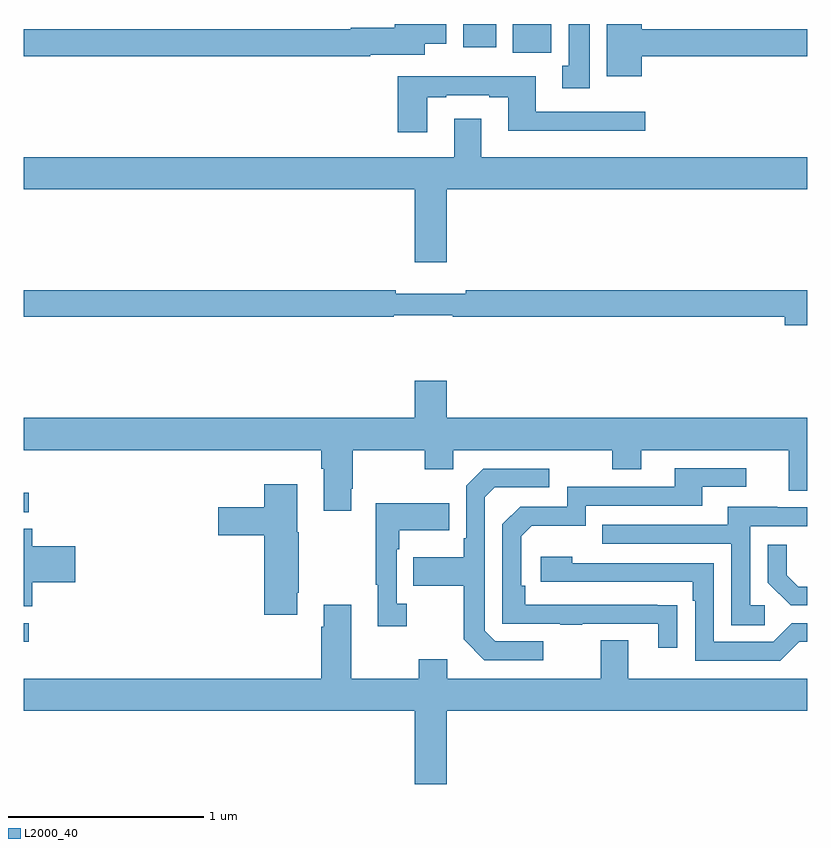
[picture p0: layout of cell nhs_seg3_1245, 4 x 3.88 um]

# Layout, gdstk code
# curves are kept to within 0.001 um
import gdstk
lib = gdstk.Library(unit=1e-6, precision=1e-09)
def R(c, l, rs):  # rectangles x0, y0, x1, y1
    for r in rs: c.add(gdstk.rectangle(r[:2], r[2:], *l))
def P(c, l, *ps):  # polygons
    for p in ps: c.add(gdstk.Polygon(p, *l))
L2000_40 = (2000, 40)

nhs_seg3_1245 = lib.new_cell('nhs_seg3_1245')
R(nhs_seg3_1245, L2000_40, [(175,725.244,175.024,725.34), (175,725.907,175.024,726.006), (177.497,728.252,177.694,728.4), (177.245,728.28,177.412,728.4)])
P(nhs_seg3_1245, L2000_40, [(176.77,728.243),(177.046,728.243),(177.046,728.3),(177.157,728.3),(177.157,728.4),(176.894,728.4),(176.894,728.38),(176.67,728.38),(176.67,728.372),(175,728.372),(175,728.236),(176.77,728.236)],
  [(178.156,728.236),(179,728.236),(179,728.372),(178.156,728.372),(178.156,728.4),(177.977,728.4),(177.977,728.132),(178.156,728.132)],
  [(177.889,728.4),(177.782,728.4),(177.782,728.186),(177.749,728.186),(177.749,728.073),(177.889,728.073)],
  [(177.061,728.025),(177.157,728.025),(177.157,728.037),(177.377,728.037),(177.377,728.025),(177.473,728.025),(177.473,727.856),(178.174,727.856),(178.174,727.953),(177.613,727.953),(177.613,728.134),(176.909,728.134),(176.909,727.848),(177.061,727.848)],
  [(177.16,727.556),(179,727.556),(179,727.72),(177.337,727.72),(177.337,727.915),(177.197,727.915),(177.197,727.72),(175,727.72),(175,727.556),(176.996,727.556),(176.996,727.182),(177.16,727.182)],
  [(179,727.04),(177.256,727.04),(177.256,727.021),(176.9,727.021),(176.9,727.04),(175,727.04),(175,726.904),(176.89,726.904),(176.89,726.912),(177.19,726.912),(177.19,726.904),(178.886,726.904),(178.886,726.862),(179,726.862)],
  [(176.671,726.025),(176.679,726.025),(176.679,726.224),(177.046,726.224),(177.046,726.125),(177.192,726.125),(177.192,726.224),(178.006,726.224),(178.006,726.125),(178.153,726.125),(178.153,726.224),(178.907,726.224),(178.907,726.016),(179,726.016),(179,726.388),(177.16,726.388),(177.16,726.577),(176.996,726.577),(176.996,726.388),(175,726.388),(175,726.224),(176.519,726.224),(176.519,726.128),(176.531,726.128),(176.531,725.913),(176.671,725.913)],
  [(178.337,725.432),(177.56,725.433),(177.56,725.53),(177.54,725.53),(177.54,725.784),(177.593,725.837),(177.87,725.837),(177.87,725.94),(178.465,725.94),(178.465,726.036),(178.69,726.036),(178.69,726.132),(178.325,726.132),(178.325,726.036),(177.774,726.036),(177.774,725.934),(177.534,725.934),(177.444,725.844),(177.444,725.337),(177.739,725.337),(177.739,725.332),(177.851,725.332),(177.851,725.337),(178.241,725.337),(178.241,725.214),(178.337,725.214)],
  [(177.652,725.247),(177.408,725.247),(177.354,725.301),(177.354,725.982),(177.405,726.033),(177.682,726.033),(177.682,726.129),(177.345,726.129),(177.258,726.042),(177.258,725.773),(177.246,725.773),(177.246,725.677),(176.989,725.677),(176.989,725.53),(177.246,725.53),(177.246,725.257),(177.351,725.151),(177.652,725.151)],
  [(176.395,725.494),(176.403,725.494),(176.403,725.805),(176.395,725.805),(176.395,726.049),(176.228,726.049),(176.228,725.931),(175.992,725.931),(175.992,725.789),(176.228,725.789),(176.228,725.382),(176.395,725.382)],
  [(176.956,725.438),(176.904,725.438),(176.904,725.717),(176.917,725.717),(176.917,725.813),(177.173,725.813),(177.173,725.953),(176.796,725.953),(176.796,725.537),(176.807,725.537),(176.807,725.325),(176.956,725.325)],
  [(178.783,725.43),(178.71,725.43),(178.71,725.835),(179,725.835),(179,725.931),(178.849,725.931),(178.849,725.935),(178.595,725.935),(178.595,725.841),(177.955,725.841),(177.955,725.745),(178.614,725.745),(178.614,725.329),(178.783,725.329)],
  [(175.043,725.549),(175.261,725.549),(175.261,725.732),(175.043,725.732),(175.043,725.822),(175,725.822),(175,725.425),(175.043,725.425)],
  [(179,725.526),(178.954,725.526),(178.897,725.583),(178.897,725.74),(178.8,725.74),(178.8,725.546),(178.916,725.43),(179,725.43)],
  [(178.959,725.244),(179,725.244),(179,725.34),(178.923,725.34),(178.827,725.244),(178.524,725.244),(178.524,725.646),(177.8,725.646),(177.8,725.68),(177.639,725.68),(177.639,725.55),(178.415,725.55),(178.415,725.453),(178.428,725.453),(178.428,725.148),(178.863,725.148)],
  [(177.16,724.892),(179,724.892),(179,725.056),(178.087,725.056),(178.087,725.251),(177.947,725.251),(177.947,725.056),(177.163,725.056),(177.163,725.155),(177.016,725.155),(177.016,725.056),(176.671,725.056),(176.671,725.434),(176.531,725.434),(176.531,725.321),(176.519,725.321),(176.519,725.056),(175,725.056),(175,724.892),(176.996,724.892),(176.996,724.518),(177.16,724.518)])

lib.write_gds('nhs_seg3_1245.gds')
